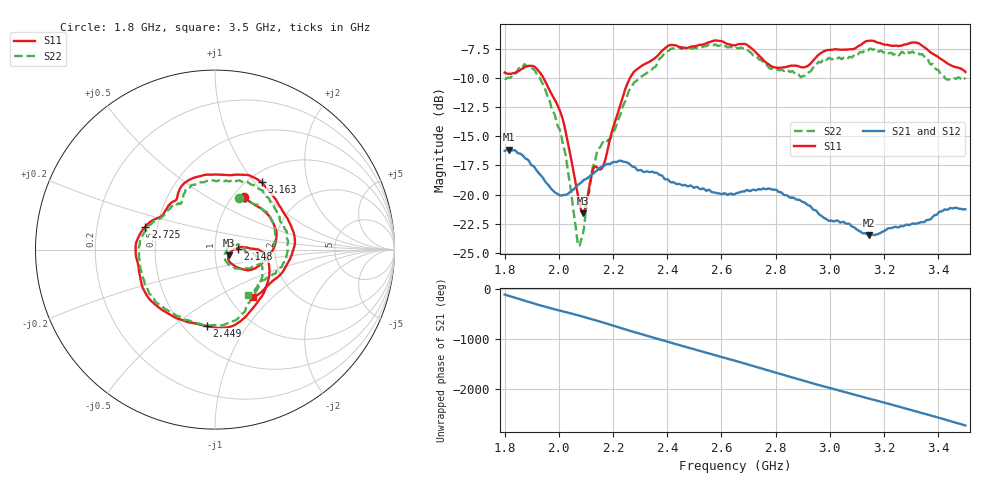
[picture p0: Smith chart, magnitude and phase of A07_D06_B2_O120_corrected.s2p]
! Created with skrf 1.9.0 (http://scikit-rf.org).
# Hz S RI R 50.0
!freq ReS11 ImS11 ReS21 ImS21 ReS12 ImS12 ReS22 ImS22
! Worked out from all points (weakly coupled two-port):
!   1601 points, 1.8 GHz to 3.5 GHz, reference 50 ohm
!   highest |S21| = -16.16 dB at 1.815 GHz (marker M1); lowest = -23.5 dB at 3.143 GHz (marker M2)
!   lowest |S11| = -21.6 dB at 2.09 GHz (marker M3), VSWR 1.18, Z = 58.3 - j3.6 ohm
!   |S11| at or under -10 dB: 1.944 GHz to 2.263 GHz (319.2 MHz wide, 15.2 % of centre)
!   |S22| runs from -24.4 to -7.1 dB; largest |S21 - S12| = 0.0026
!   S11 on the Smith chart (normalised r, x): 1.8 GHz: 1.13, +0.74; 2.148 GHz: 1.29, +0.01; 2.449 GHz: 0.64, -0.67; 2.725 GHz: 0.43, +0.13; 3.163 GHz: 1.15, +1.09; 3.5 GHz: 1.28, -0.76
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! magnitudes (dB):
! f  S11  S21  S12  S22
! 1.8 GHz  -9.5  -16.2  -16.2  -10.0
! 1.815 GHz  -9.6  -16.2  -16.2  -10.0
! 1.881 GHz  -9.0  -17.0  -17.0  -9.0
! 1.942 GHz  -10.0  -18.6  -18.6  -10.6
! 2.014 GHz  -13.5  -20.1  -20.1  -15.5
! 2.068 GHz  -19.8  -19.2  -19.2  -23.8
! 2.084 GHz  -21.4  -18.9  -18.9  -23.8
! 2.09 GHz  -21.6  -18.8  -18.8  -23.2
! 2.126 GHz  -17.9  -18.2  -18.2  -17.6
! 2.148 GHz  -17.8  -17.8  -17.8  -16.0
! 2.263 GHz  -10.0  -17.4  -17.4  -10.9
! 2.367 GHz  -8.0  -18.2  -18.2  -8.5
! 2.449 GHz  -7.4  -19.1  -19.1  -7.5
! 2.65 GHz  -7.2  -19.9  -19.9  -7.4
! 2.725 GHz  -7.8  -19.6  -19.6  -8.1
! 2.8 GHz  -9.1  -19.6  -19.6  -9.3
! 2.934 GHz  -8.6  -21.1  -21.1  -9.3
! 3.143 GHz  -6.8  -23.5  -23.4  -7.6
! 3.163 GHz  -6.8  -23.5  -23.4  -7.5
! 3.217 GHz  -7.2  -22.9  -22.8  -7.9
! 3.324 GHz  -7.0  -22.5  -22.4  -7.9
! 3.5 GHz  -9.5  -21.3  -21.2  -10.1
